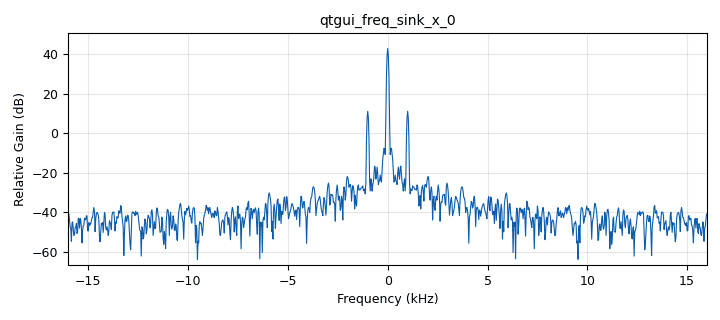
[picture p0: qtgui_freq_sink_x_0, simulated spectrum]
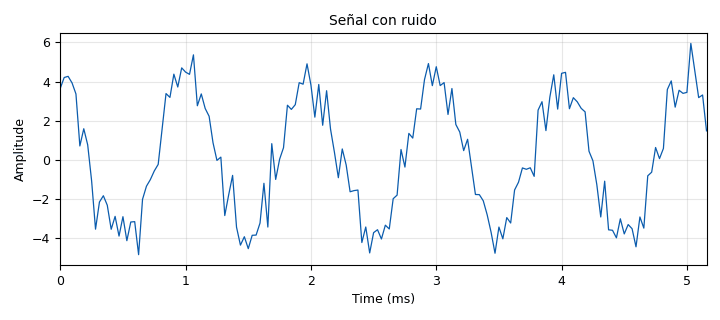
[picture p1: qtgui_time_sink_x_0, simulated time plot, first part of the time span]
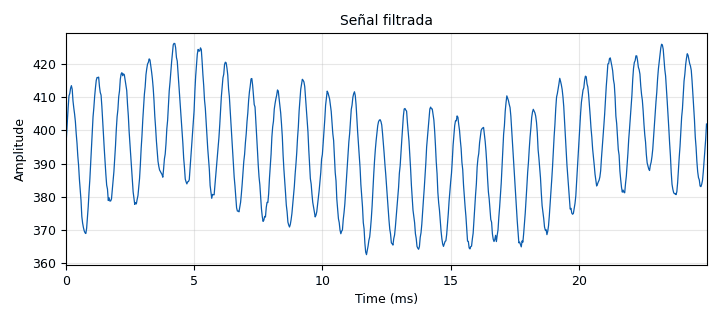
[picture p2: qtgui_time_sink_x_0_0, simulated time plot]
options:
  parameters:
    author: HailenDanielTatiana
    generate_options: qt_gui
    id: Aplicacion
    output_language: python
    title: Aplicacion
  states: {}

blocks:
- name: samp_rate
  id: variable
  parameters:
    value: '32000'
  states: {}
- name: analog_noise_source_x_0
  id: analog_noise_source_x
  parameters:
    amp: '0.8'
    noise_type: analog.GR_GAUSSIAN
    seed: '0'
    type: float
  states: {}
- name: analog_sig_source_x_0
  id: analog_sig_source_x
  parameters:
    amp: '4'
    freq: '1000'
    offset: '0'
    phase: '0'
    samp_rate: samp_rate
    type: float
    waveform: analog.GR_COS_WAVE
  states: {}
- name: blocks_add_xx_0
  id: blocks_add_xx
  parameters:
    type: float
  states: {}
- name: epy_block_0_0
  id: epy_block
  parameters:
    _source_code: |
      import numpy as np
      from gnuradio import gr
      class blk ( gr . sync_block ) :
      	def __init__ ( self) : # only default arguments here
      		gr . sync_block . __init__ (
      			self ,
      			name = " e_Acum " , # will show up in GRC
      			in_sig =[ np.float32 ] ,
      			out_sig =[ np.float32 ])
      		self.acum_anterior=0
      		
      	def work ( self , input_items , output_items ) :
      		x = input_items [0] # Senial de entrada.
      		N = len(x)
      		y = output_items [0] # Senial acumulada
      		y[:] = self.acum_anterior+np.cumsum(x)
      		self.acum_anterior=y[-1]
      		return len(x)
  states: {}
- name: qtgui_freq_sink_x_0
  id: qtgui_freq_sink_x
  parameters:
    autoscale: 'True'
    bw: samp_rate
    fc: '0'
    fftsize: '1024'
    type: float
  states: {}
- name: qtgui_time_sink_x_0
  id: qtgui_time_sink_x
  parameters:
    autoscale: 'True'
    grid: 'True'
    name: '"Señal con ruido"'
    size: '800'
    srate: samp_rate
    type: float
    ylabel: ''
  states: {}
- name: qtgui_time_sink_x_0_0
  id: qtgui_time_sink_x
  parameters:
    autoscale: 'True'
    grid: 'True'
    name: '"Señal filtrada"'
    size: '800'
    srate: samp_rate
    type: float
  states: {}

connections:
- [analog_noise_source_x_0, '0', blocks_add_xx_0, '1']
- [analog_sig_source_x_0, '0', blocks_add_xx_0, '0']
- [blocks_add_xx_0, '0', epy_block_0_0, '0']
- [blocks_add_xx_0, '0', qtgui_time_sink_x_0, '0']
- [epy_block_0_0, '0', qtgui_freq_sink_x_0, '0']
- [epy_block_0_0, '0', qtgui_time_sink_x_0_0, '0']

metadata:
  file_format: 1
  grc_version: 3.10.10.0
